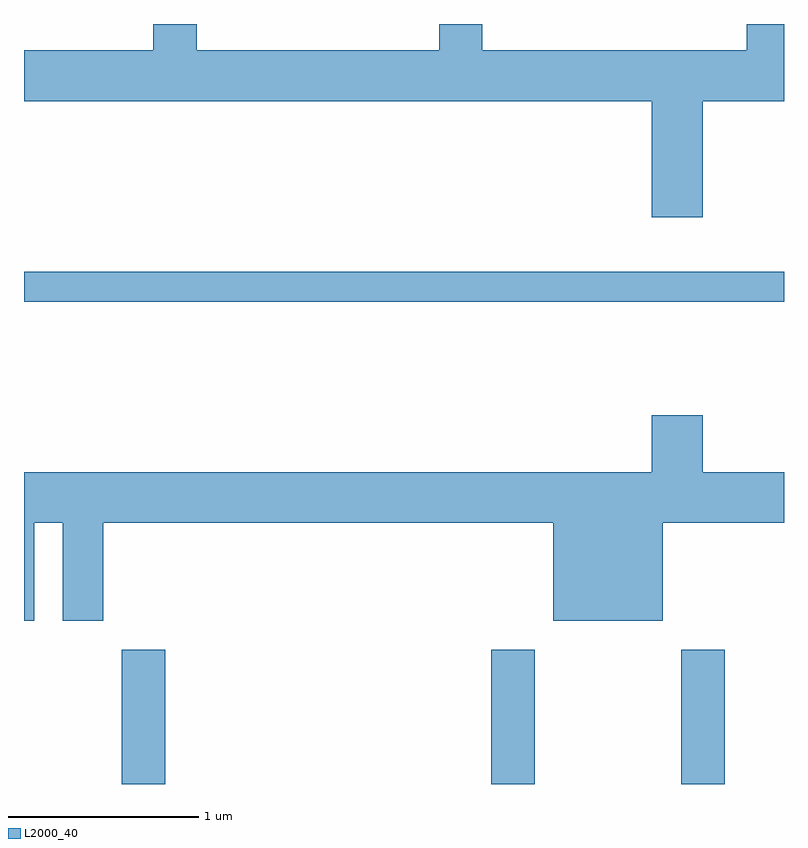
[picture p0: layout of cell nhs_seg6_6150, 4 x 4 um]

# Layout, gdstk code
import gdstk
lib = gdstk.Library(unit=1e-6, precision=1e-09)
def R(c, l, rs):  # rectangles x0, y0, x1, y1
    for r in rs: c.add(gdstk.rectangle(r[:2], r[2:], *l))
def P(c, l, *ps):  # polygons
    for p in ps: c.add(gdstk.Polygon(p, *l))
L2000_40 = (2000, 40)

nhs_seg6_6150 = lib.new_cell('nhs_seg6_6150')
R(nhs_seg6_6150, L2000_40, [(372.126,1604.162,372.354,1604.869), (374.071,1604.162,374.299,1604.869), (375.071,1604.162,375.299,1604.869), (371.611,1606.701,375.611,1606.859)])
P(nhs_seg6_6150, L2000_40, [(375.611,1608.162),(375.416,1608.162),(375.416,1608.024),(374.024,1608.024),(374.024,1608.162),(373.796,1608.162),(373.796,1608.024),(372.519,1608.024),(372.519,1608.162),(372.291,1608.162),(372.291,1608.024),(371.611,1608.024),(371.611,1607.756),(374.916,1607.756),(374.916,1607.146),(375.184,1607.146),(375.184,1607.756),(375.611,1607.756)],
  [(371.664,1605.536),(371.816,1605.536),(371.816,1605.021),(372.029,1605.021),(372.029,1605.536),(374.396,1605.536),(374.396,1605.021),(374.974,1605.021),(374.974,1605.536),(375.611,1605.536),(375.611,1605.804),(375.184,1605.804),(375.184,1606.104),(374.916,1606.104),(374.916,1605.804),(371.611,1605.804),(371.611,1605.021),(371.664,1605.021)])

lib.write_gds('nhs_seg6_6150.gds')
